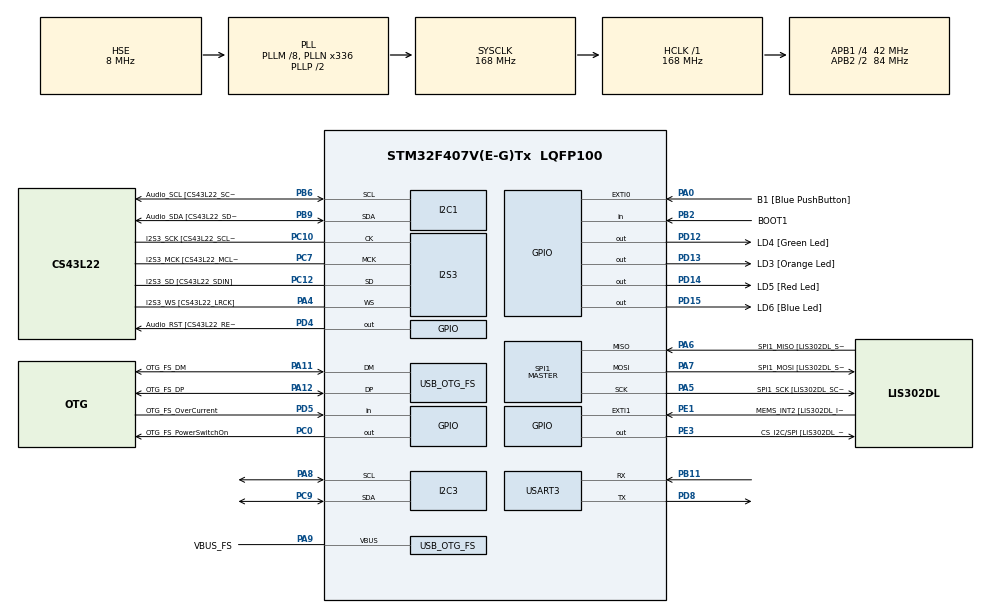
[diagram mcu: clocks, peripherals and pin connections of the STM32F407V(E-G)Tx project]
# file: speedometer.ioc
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I2S3.AudioFreq-Half_Duplex_Master=I2S_AUDIOFREQ_96K
I2S3.ErrorAudioFreq=-2.34 %
I2S3.ErrorAudioFreq-Half_Duplex_Master=0.8 %
I2S3.FullDuplexMode=I2S_FULLDUPLEXMODE_DISABLE
I2S3.Instance=SPI$Index
I2S3.RealAudioFreq=93.75 KHz
I2S3.RealAudioFreq-Half_Duplex_Master=96.774 KHz
I2S3.VirtualMode=I2S_MODE_MASTER
Mcu.Family=STM32F4
Mcu.Name=STM32F407V(E-G)Tx
Mcu.Package=LQFP100
NVIC.OTG_FS_IRQn=true\:0\:0\:false\:false\:true\:true\:true\:true
NVIC.PriorityGroup=NVIC_PRIORITYGROUP_0
NVIC.USART3_IRQn=true\:0\:0\:false\:false\:true\:true\:true\:true
PA0-WKUP.GPIO_Label=B1 [Blue PushButton]
PA0-WKUP.GPIO_ModeDefaultEXTI=GPIO_MODE_IT_RISING
PA0-WKUP.GPIO_PuPd=GPIO_NOPULL
PA0-WKUP.Signal=GPXTI0
PA10.GPIO_Label=OTG_FS_ID
PA10.GPIO_Mode=GPIO_MODE_AF_PP
PA10.GPIO_PuPd=GPIO_NOPULL
PA10.GPIO_Speed=GPIO_SPEED_FREQ_LOW
PA10.Signal=USB_OTG_FS_ID
PA11.GPIO_Label=OTG_FS_DM
PA11.GPIO_Mode=GPIO_MODE_AF_PP
PA11.GPIO_PuPd=GPIO_NOPULL
PA11.GPIO_Speed=GPIO_SPEED_FREQ_LOW
PA11.Mode=Host_Only
PA11.Signal=USB_OTG_FS_DM
PA12.GPIO_Label=OTG_FS_DP
PA12.GPIO_Mode=GPIO_MODE_AF_PP
PA12.GPIO_PuPd=GPIO_NOPULL
PA12.GPIO_Speed=GPIO_SPEED_FREQ_LOW
PA12.Mode=Host_Only
PA12.Signal=USB_OTG_FS_DP
PA13.GPIO_Label=SWDIO
PA13.Mode=Serial_Wire
PA13.Signal=SYS_JTMS-SWDIO
PA14.GPIO_Label=SWCLK
PA14.Mode=Serial_Wire
PA14.Signal=SYS_JTCK-SWCLK
PA4.GPIO_Label=I2S3_WS [CS43L22_LRCK]
PA4.GPIO_Mode=GPIO_MODE_AF_PP
PA4.GPIO_PuPd=GPIO_NOPULL
PA4.GPIO_Speed=GPIO_SPEED_FREQ_LOW
PA4.Mode=Half_Duplex_Master
PA4.Signal=I2S3_WS
PA5.GPIO_Label=SPI1_SCK [LIS302DL_SCL/SPC]
PA5.GPIO_Mode=GPIO_MODE_AF_PP
PA5.GPIO_PuPd=GPIO_NOPULL
PA5.GPIO_Speed=GPIO_SPEED_FREQ_LOW
PA5.Mode=Full_Duplex_Master
PA5.Signal=SPI1_SCK
PA6.GPIO_Label=SPI1_MISO [LIS302DL_SDO]
PA6.GPIO_Mode=GPIO_MODE_AF_PP
PA6.GPIO_PuPd=GPIO_NOPULL
PA6.GPIO_Speed=GPIO_SPEED_FREQ_LOW
PA6.Mode=Full_Duplex_Master
PA6.Signal=SPI1_MISO
PA7.GPIO_Label=SPI1_MOSI [LIS302DL_SDA/SDI/SDO]
PA7.GPIO_Mode=GPIO_MODE_AF_PP
PA7.GPIO_PuPd=GPIO_NOPULL
PA7.GPIO_Speed=GPIO_SPEED_FREQ_LOW
PA7.Mode=Full_Duplex_Master
PA7.Signal=SPI1_MOSI
PA8.Mode=I2C
PA8.Signal=I2C3_SCL
PA9.GPIO_Label=VBUS_FS
PA9.GPIO_Mode=GPIO_MODE_INPUT
PA9.GPIO_PuPd=GPIO_NOPULL
PA9.Mode=Activate_VBUS
PA9.Signal=USB_OTG_FS_VBUS
PB10.GPIO_Label=CLK_IN [MP45DT02_CLK]
PB10.GPIO_Mode=GPIO_MODE_AF_PP
PB10.GPIO_PuPd=GPIO_NOPULL
PB10.GPIO_Speed=GPIO_SPEED_FREQ_LOW
PB10.Signal=I2S2_CK
PB11.Mode=Asynchronous
PB11.Signal=USART3_RX
PB2.GPIO_Label=BOOT1
PB2.GPIO_Mode=GPIO_MODE_INPUT
PB2.GPIO_PuPd=GPIO_NOPULL
PB2.Signal=GPIO_Input
PB3.GPIO_Label=SWO
PB3.Signal=SYS_JTDO-SWO
PB6.GPIO_Label=Audio_SCL [CS43L22_SCL]
PB6.GPIO_Mode=GPIO_MODE_AF_OD
PB6.GPIO_Pu=GPIO_PULLUP
PB6.GPIO_PuPd=GPIO_NOPULL
PB6.GPIO_Speed=GPIO_SPEED_FREQ_LOW
PB6.Mode=I2C
PB6.Signal=I2C1_SCL
PB9.GPIO_Label=Audio_SDA [CS43L22_SDA]
PB9.GPIO_Mode=GPIO_MODE_AF_OD
PB9.GPIO_Pu=GPIO_PULLUP
PB9.GPIO_PuPd=GPIO_NOPULL
PB9.GPIO_Speed=GPIO_SPEED_FREQ_LOW
PB9.Mode=I2C
PB9.Signal=I2C1_SDA
PC0.GPIO_Label=OTG_FS_PowerSwitchOn
PC0.GPIO_PuPd=GPIO_NOPULL
PC0.GPIO_Speed=GPIO_SPEED_FREQ_LOW
PC0.PinState=GPIO_PIN_SET
PC0.Signal=GPIO_Output
PC10.GPIO_Label=I2S3_SCK [CS43L22_SCLK]
PC10.GPIO_Mode=GPIO_MODE_AF_PP
PC10.GPIO_PuPd=GPIO_NOPULL
PC10.GPIO_Speed=GPIO_SPEED_FREQ_LOW
PC10.Mode=Half_Duplex_Master
PC10.Signal=I2S3_CK
PC12.GPIO_Label=I2S3_SD [CS43L22_SDIN]
PC12.GPIO_Mode=GPIO_MODE_AF_PP
PC12.GPIO_PuPd=GPIO_NOPULL
PC12.GPIO_Speed=GPIO_SPEED_FREQ_LOW
PC12.Mode=Half_Duplex_Master
PC12.Signal=I2S3_SD
PC14-OSC32_IN.GPIO_Label=PC14-OSC32_IN
PC14-OSC32_IN.Mode=LSE-External-Oscillator
PC14-OSC32_IN.Signal=RCC_OSC32_IN
PC15-OSC32_OUT.GPIO_Label=PC15-OSC32_OUT
PC15-OSC32_OUT.Mode=LSE-External-Oscillator
PC15-OSC32_OUT.Signal=RCC_OSC32_OUT
PC3.GPIO_Label=PDM_OUT [MP45DT02_DOUT]
PC3.GPIO_Mode=GPIO_MODE_AF_PP
PC3.GPIO_PuPd=GPIO_NOPULL
PC3.GPIO_Speed=GPIO_SPEED_FREQ_LOW
PC3.Signal=I2S2_SD
PC7.GPIO_Label=I2S3_MCK [CS43L22_MCLK]
PC7.GPIO_Mode=GPIO_MODE_AF_PP
PC7.GPIO_PuPd=GPIO_NOPULL
PC7.GPIO_Speed=GPIO_SPEED_FREQ_LOW
PC7.Mode=Master_Clock_Activated
PC7.Signal=I2S3_MCK
PC9.Mode=I2C
PC9.Signal=I2C3_SDA
PD12.GPIO_Label=LD4 [Green Led]
PD12.GPIO_PuPd=GPIO_NOPULL
PD12.GPIO_Speed=GPIO_SPEED_FREQ_LOW
PD12.Signal=GPIO_Output
PD13.GPIO_Label=LD3 [Orange Led]
PD13.GPIO_PuPd=GPIO_NOPULL
PD13.GPIO_Speed=GPIO_SPEED_FREQ_LOW
PD13.Signal=GPIO_Output
PD14.GPIO_Label=LD5 [Red Led]
PD14.GPIO_PuPd=GPIO_NOPULL
PD14.GPIO_Speed=GPIO_SPEED_FREQ_LOW
PD14.Signal=GPIO_Output
PD15.GPIO_Label=LD6 [Blue Led]
PD15.GPIO_PuPd=GPIO_NOPULL
PD15.GPIO_Speed=GPIO_SPEED_FREQ_LOW
PD15.Signal=GPIO_Output
PD4.GPIO_Label=Audio_RST [CS43L22_RESET]
PD4.GPIO_PuPd=GPIO_NOPULL
PD4.GPIO_Speed=GPIO_SPEED_FREQ_LOW
PD4.Signal=GPIO_Output
PD5.GPIO_Label=OTG_FS_OverCurrent
PD5.GPIO_Mode=GPIO_MODE_INPUT
PD5.GPIO_PuPd=GPIO_NOPULL
PD5.Signal=GPIO_Input
PD8.Mode=Asynchronous
PD8.Signal=USART3_TX
PE1.GPIO_Label=MEMS_INT2 [LIS302DL_INT2]
PE1.GPIO_ModeDefaultEXTI=GPIO_MODE_EVT_RISING
PE1.GPIO_PuPd=GPIO_NOPULL
PE1.Signal=GPXTI1
PE3.GPIO_Label=CS_I2C/SPI [LIS302DL_CS_I2C/SPI]
PE3.GPIO_PuPd=GPIO_NOPULL
PE3.GPIO_Speed=GPIO_SPEED_FREQ_LOW
PE3.Signal=GPIO_Output
PH0-OSC_IN.GPIO_Label=PH0-OSC_IN
PH0-OSC_IN.Mode=HSE-External-Oscillator
PH0-OSC_IN.Signal=RCC_OSC_IN
PH1-OSC_OUT.GPIO_Label=PH1-OSC_OUT
PH1-OSC_OUT.Mode=HSE-External-Oscillator
PH1-OSC_OUT.Signal=RCC_OSC_OUT
ProjectManager.HeapSize=0x200
ProjectManager.StackSize=0x400
ProjectManager.TargetToolchain=STM32CubeIDE
RCC.48MHZClocksFreq_Value=48000000
RCC.AHBFreq_Value=168000000
RCC.APB1CLKDivider=RCC_HCLK_DIV4
RCC.APB1Freq_Value=42000000
RCC.APB1TimFreq_Value=84000000
RCC.APB2CLKDivider=RCC_HCLK_DIV2
RCC.APB2Freq_Value=84000000
RCC.APB2TimFreq_Value=168000000
RCC.CortexFreq_Value=168000000
RCC.HCLKFreq_Value=168000000
RCC.HSE_VALUE=8000000
RCC.HSI_VALUE=16000000
RCC.PLLM=8
RCC.PLLN=336
RCC.PLLQ=7
RCC.SYSCLKFreq_VALUE=168000000
RCC.SYSCLKSource=RCC_SYSCLKSOURCE_PLLCLK
RCC.VCOOutputFreq_Value=336000000
SPI1.BaudRatePrescaler-Full_Duplex_Master=SPI_BAUDRATEPRESCALER_2
SPI1.CalculateBaudRate-Full_Duplex_Master=42.0 MBits/s
SPI1.Direction=SPI_DIRECTION_2LINES
SPI1.Mode=SPI_MODE_MASTER
SPI1.Mode-Full_Duplex_Master=SPI_MODE_MASTER
SPI1.VirtualType=VM_MASTER
USART3.VirtualMode=VM_ASYNC
USB_HOST.BSP.number=1
USB_HOST.USBH_HandleTypeDef-CDC_FS=hUsbHostFS
USB_HOST.VirtualModeFS=Cdc
USB_HOST0.BSP.STBoard=false
USB_HOST0.BSP.api=Unknown
USB_HOST0.BSP.instance=PC0
USB_HOST0.BSP.ip=GPIO
USB_HOST0.BSP.mode=Output
USB_HOST0.BSP.name=Drive_VBUS_FS
USB_HOST0.BSP.solution=PC0
USB_OTG_FS.VirtualMode=Host_Only
USB_OTG_FS.phy_itface=HCD_PHY_EMBEDDED
VP_USB_HOST_VS_USB_HOST_CDC_FS.Mode=CDC_FS
board=STM32F407G-DISC1

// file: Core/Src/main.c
/* USER CODE BEGIN Header */
/**
  ******************************************************************************
  * @file           : main.c
  * @brief          : Main program body
  ******************************************************************************
  * @attention
  *
  * Copyright (c) 2026 STMicroelectronics.
  * All rights reserved.
  *
  * This software is licensed under terms that can be found in the LICENSE file
  * in the root directory of this software component.
  * If no LICENSE file comes with this software, it is provided AS-IS.
  *
  ******************************************************************************
  */
/* USER CODE END Header */
#include "main.h"
#include "usb_host.h"

/* USER CODE BEGIN Includes */
#include <string.h>
#include <stdio.h>
/* USER CODE END Includes */

I2C_HandleTypeDef hi2c1;
I2C_HandleTypeDef hi2c3;

I2S_HandleTypeDef hi2s3;

SPI_HandleTypeDef hspi1;

UART_HandleTypeDef huart3;

void SystemClock_Config(void);
static void MX_GPIO_Init(void);
static void MX_I2C1_Init(void);
static void MX_I2S3_Init(void);
static void MX_SPI1_Init(void);
static void MX_I2C3_Init(void);
static void MX_USART3_UART_Init(void);
void MX_USB_HOST_Process(void);

/* USER CODE BEGIN PFP */
/* USER CODE BEGIN PV */
#define LCD_ADDR (0x27 << 1)
#define LCD_BACKLIGHT 0x08
#define LCD_ENABLE    0x04
#define LCD_RS        0x01
#define STX 0x02
#define ETX 0x03
#define PAYLOAD_SIZE 80  // 4 lines x 20 chars
#define PACKET_SIZE  (PAYLOAD_SIZE + 2) // 82 bytes total

// Buffer for receiving data (STX + Data + ETX)
uint8_t rx_buffer[PACKET_SIZE];
// Temporary byte for interrupt reception
uint8_t rx_byte_tmp;
// Counter for current packet index
uint16_t rx_idx = 0;

volatile uint8_t packet_received = 0; // Flag
char display_line_buf[21];            // Temp buffer for one line + null terminator

uint8_t orangeLedState = 0;
/* USER CODE END PV */

/* USER CODE END PFP */

/* USER CODE BEGIN 0 */

/* USER CODE BEGIN 0 */

void HAL_UART_RxCpltCallback(UART_HandleTypeDef *huart)
{
    if (huart->Instance == USART3)
    {

        // --- PROTOCOL STATE MACHINE ---

        // 1. Waiting for Start of Packet
        if (rx_idx == 0)
        {
            if (rx_byte_tmp == STX)
            {
                rx_buffer[rx_idx++] = rx_byte_tmp;
            }
        }
        // 2. Receiving Payload
        else if (rx_idx < (PACKET_SIZE - 1))
        {
            rx_buffer[rx_idx++] = rx_byte_tmp;
        }
        // 3. Waiting for End of Packet
        else if (rx_idx == (PACKET_SIZE - 1))
        {
            if (rx_byte_tmp == ETX)
            {
                rx_buffer[rx_idx] = rx_byte_tmp;
                packet_received = 1; // Complete valid packet received!
            }

            // Whether valid or not, reset index to look for next STX
            rx_idx = 0;
        }

        // Re-arm interrupt for next byte
        HAL_UART_Receive_IT(&huart3, &rx_byte_tmp, 1);
    }
}

// --- LCD FUNCTIONS (Kept mostly same, added robust updates) ---

void lcd_send_nibble(uint8_t nibble)
{
    HAL_I2C_Master_Transmit(&hi2c3, LCD_ADDR, &nibble, 1, 10);
}

void lcd_send_byte(uint8_t data, uint8_t rs)
{
    uint8_t high = (data & 0xF0) | LCD_BACKLIGHT | rs;
    uint8_t low  = ((data << 4) & 0xF0) | LCD_BACKLIGHT | rs;

    lcd_send_nibble(high | LCD_ENABLE);
    lcd_send_nibble(high);

    lcd_send_nibble(low | LCD_ENABLE);
    lcd_send_nibble(low);

    HAL_Delay(1); // Small delay for LCD processing
}

void lcd_cmd(uint8_t cmd)
{
    lcd_send_byte(cmd, 0);
}

void lcd_data(uint8_t data)
{
    lcd_send_byte(data, LCD_RS);
}

void lcd_init(void)
{
    HAL_Delay(50);
    lcd_cmd(0x33);
    lcd_cmd(0x32);
    lcd_cmd(0x28); // 4-bit mode, 2 lines (physically 4 lines usually treated as 2 banks)
    lcd_cmd(0x0C); // Display ON, Cursor OFF
    lcd_cmd(0x06); // Increment cursor
    lcd_cmd(0x01); // Clear display
    HAL_Delay(5);
}

void lcd_print(char *str)
{
    while (*str)
    {
        lcd_data(*str++);
    }
}

void lcd_set_cursor(uint8_t row, uint8_t col)
{
    // Standard 20x4 addresses
    // Row 0: 0x00
    // Row 1: 0x40
    // Row 2: 0x14
    // Row 3: 0x54
    uint8_t address[] = {0x00, 0x40, 0x14, 0x54};
    if(row > 3) row = 3;
    lcd_cmd(0x80 | (address[row] + col));
}

// Helper to update a specific line
void lcd_update_line(uint8_t row, const char *raw_data_start)
{
    lcd_set_cursor(row, 0);
    // Copy exactly 20 chars to a temp buffer to ensure null termination
    memcpy(display_line_buf, raw_data_start, 20);
    display_line_buf[20] = '\0';
    lcd_print(display_line_buf);
}

void uart_println(char *msg)
{
    HAL_UART_Transmit(&huart3, (uint8_t*)msg, strlen(msg), 100);
    HAL_UART_Transmit(&huart3, (uint8_t*)"\r\n", 2, 100);
}

/* USER CODE END 0 */

int main(void)
{

  /* MCU Configuration--------------------------------------------------------*/

  /* Reset of all peripherals, Initializes the Flash interface and the Systick. */
  HAL_Init();

  /* Configure the system clock */
  SystemClock_Config();

  /* Initialize all configured peripherals */
  MX_GPIO_Init();
  MX_I2C1_Init();
  MX_I2S3_Init();
  MX_SPI1_Init();
  MX_USB_HOST_Init();
  MX_I2C3_Init();
  MX_USART3_UART_Init();
  /* USER CODE BEGIN 2 */
  lcd_init();

  HAL_UART_Receive_IT(&huart3, &rx_byte_tmp, 1);

   uart_println("ETS2 Telemetry Ready...");

   // Initial LCD Clear
   lcd_cmd(0x01);
   HAL_Delay(2);
  /* USER CODE END 2 */

  /* Infinite loop */
  while (1)
  {
    MX_USB_HOST_Process();
    if (packet_received)
       {
           // Toggle Orange LED to indicate successful packet parse
           orangeLedState ^= 1;
           HAL_GPIO_WritePin(GPIOD, GPIO_PIN_13, orangeLedState);

           // rx_buffer layout:
           // Index 0: STX
           // Index 1-20:  Line 1
           // Index 21-40: Line 2
           // Index 41-60: Line 3
           // Index 61-80: Line 4
           // Index 81: ETX

           lcd_update_line(0, (char*)&rx_buffer[1]);  // Line 1
           lcd_update_line(1, (char*)&rx_buffer[21]); // Line 2
           lcd_update_line(2, (char*)&rx_buffer[41]); // Line 3
           lcd_update_line(3, (char*)&rx_buffer[61]); // Line 4

           // Clear flag so we wait for the next packet
           packet_received = 0;
       }
  }
}

void SystemClock_Config(void)
{
  RCC_OscInitTypeDef RCC_OscInitStruct = {0};
  RCC_ClkInitTypeDef RCC_ClkInitStruct = {0};

  /** Configure the main internal regulator output voltage
  */
  __HAL_RCC_PWR_CLK_ENABLE();
  __HAL_PWR_VOLTAGESCALING_CONFIG(PWR_REGULATOR_VOLTAGE_SCALE1);

  /** Initializes the RCC Oscillators according to the specified parameters
  * in the RCC_OscInitTypeDef structure.
  */
  RCC_OscInitStruct.OscillatorType = RCC_OSCILLATORTYPE_HSE;
  RCC_OscInitStruct.HSEState = RCC_HSE_ON;
  RCC_OscInitStruct.PLL.PLLState = RCC_PLL_ON;
  RCC_OscInitStruct.PLL.PLLSource = RCC_PLLSOURCE_HSE;
  RCC_OscInitStruct.PLL.PLLM = 8;
  RCC_OscInitStruct.PLL.PLLN = 336;
  RCC_OscInitStruct.PLL.PLLP = RCC_PLLP_DIV2;
  RCC_OscInitStruct.PLL.PLLQ = 7;
  if (HAL_RCC_OscConfig(&RCC_OscInitStruct) != HAL_OK)
  {
    Error_Handler();
  }

  /** Initializes the CPU, AHB and APB buses clocks
  */
  RCC_ClkInitStruct.ClockType = RCC_CLOCKTYPE_HCLK|RCC_CLOCKTYPE_SYSCLK
                              |RCC_CLOCKTYPE_PCLK1|RCC_CLOCKTYPE_PCLK2;
  RCC_ClkInitStruct.SYSCLKSource = RCC_SYSCLKSOURCE_PLLCLK;
  RCC_ClkInitStruct.AHBCLKDivider = RCC_SYSCLK_DIV1;
  RCC_ClkInitStruct.APB1CLKDivider = RCC_HCLK_DIV4;
  RCC_ClkInitStruct.APB2CLKDivider = RCC_HCLK_DIV2;

  if (HAL_RCC_ClockConfig(&RCC_ClkInitStruct, FLASH_LATENCY_5) != HAL_OK)
  {
    Error_Handler();
  }
}

static void MX_I2C1_Init(void)
{

  hi2c1.Instance = I2C1;
  hi2c1.Init.ClockSpeed = 100000;
  hi2c1.Init.DutyCycle = I2C_DUTYCYCLE_2;
  hi2c1.Init.OwnAddress1 = 0;
  hi2c1.Init.AddressingMode = I2C_ADDRESSINGMODE_7BIT;
  hi2c1.Init.DualAddressMode = I2C_DUALADDRESS_DISABLE;
  hi2c1.Init.OwnAddress2 = 0;
  hi2c1.Init.GeneralCallMode = I2C_GENERALCALL_DISABLE;
  hi2c1.Init.NoStretchMode = I2C_NOSTRETCH_DISABLE;
  if (HAL_I2C_Init(&hi2c1) != HAL_OK)
  {
    Error_Handler();
  }

}

static void MX_I2C3_Init(void)
{

  hi2c3.Instance = I2C3;
  hi2c3.Init.ClockSpeed = 100000;
  hi2c3.Init.DutyCycle = I2C_DUTYCYCLE_2;
  hi2c3.Init.OwnAddress1 = 0;
  hi2c3.Init.AddressingMode = I2C_ADDRESSINGMODE_7BIT;
  hi2c3.Init.DualAddressMode = I2C_DUALADDRESS_DISABLE;
  hi2c3.Init.OwnAddress2 = 0;
  hi2c3.Init.GeneralCallMode = I2C_GENERALCALL_DISABLE;
  hi2c3.Init.NoStretchMode = I2C_NOSTRETCH_DISABLE;
  if (HAL_I2C_Init(&hi2c3) != HAL_OK)
  {
    Error_Handler();
  }

}

static void MX_I2S3_Init(void)
{

  hi2s3.Instance = SPI3;
  hi2s3.Init.Mode = I2S_MODE_MASTER_TX;
  hi2s3.Init.Standard = I2S_STANDARD_PHILIPS;
  hi2s3.Init.DataFormat = I2S_DATAFORMAT_16B;
  hi2s3.Init.MCLKOutput = I2S_MCLKOUTPUT_ENABLE;
  hi2s3.Init.AudioFreq = I2S_AUDIOFREQ_96K;
  hi2s3.Init.CPOL = I2S_CPOL_LOW;
  hi2s3.Init.ClockSource = I2S_CLOCK_PLL;
  hi2s3.Init.FullDuplexMode = I2S_FULLDUPLEXMODE_DISABLE;
  if (HAL_I2S_Init(&hi2s3) != HAL_OK)
  {
    Error_Handler();
  }

}

static void MX_SPI1_Init(void)
{

  /* SPI1 parameter configuration*/
  hspi1.Instance = SPI1;
  hspi1.Init.Mode = SPI_MODE_MASTER;
  hspi1.Init.Direction = SPI_DIRECTION_2LINES;
  hspi1.Init.DataSize = SPI_DATASIZE_8BIT;
  hspi1.Init.CLKPolarity = SPI_POLARITY_LOW;
  hspi1.Init.CLKPhase = SPI_PHASE_1EDGE;
  hspi1.Init.NSS = SPI_NSS_SOFT;
  hspi1.Init.BaudRatePrescaler = SPI_BAUDRATEPRESCALER_2;
  hspi1.Init.FirstBit = SPI_FIRSTBIT_MSB;
  hspi1.Init.TIMode = SPI_TIMODE_DISABLE;
  hspi1.Init.CRCCalculation = SPI_CRCCALCULATION_DISABLE;
  hspi1.Init.CRCPolynomial = 10;
  if (HAL_SPI_Init(&hspi1) != HAL_OK)
  {
    Error_Handler();
  }

}

static void MX_USART3_UART_Init(void)
{

  huart3.Instance = USART3;
  huart3.Init.BaudRate = 115200;
  huart3.Init.WordLength = UART_WORDLENGTH_8B;
  huart3.Init.StopBits = UART_STOPBITS_1;
  huart3.Init.Parity = UART_PARITY_NONE;
  huart3.Init.Mode = UART_MODE_TX_RX;
  huart3.Init.HwFlowCtl = UART_HWCONTROL_NONE;
  huart3.Init.OverSampling = UART_OVERSAMPLING_16;
  if (HAL_UART_Init(&huart3) != HAL_OK)
  {
    Error_Handler();
  }

}

static void MX_GPIO_Init(void)
{
  GPIO_InitTypeDef GPIO_InitStruct = {0};

  /* GPIO Ports Clock Enable */
  __HAL_RCC_GPIOE_CLK_ENABLE();
  __HAL_RCC_GPIOC_CLK_ENABLE();
  __HAL_RCC_GPIOH_CLK_ENABLE();
  __HAL_RCC_GPIOA_CLK_ENABLE();
  __HAL_RCC_GPIOB_CLK_ENABLE();
  __HAL_RCC_GPIOD_CLK_ENABLE();

  /*Configure GPIO pin Output Level */
  HAL_GPIO_WritePin(CS_I2C_SPI_GPIO_Port, CS_I2C_SPI_Pin, GPIO_PIN_RESET);

  /*Configure GPIO pin Output Level */
  HAL_GPIO_WritePin(OTG_FS_PowerSwitchOn_GPIO_Port, OTG_FS_PowerSwitchOn_Pin, GPIO_PIN_SET);

  /*Configure GPIO pin Output Level */
  HAL_GPIO_WritePin(GPIOD, LD4_Pin|LD3_Pin|LD5_Pin|LD6_Pin
                          |Audio_RST_Pin, GPIO_PIN_RESET);

  /*Configure GPIO pin : CS_I2C_SPI_Pin */
  GPIO_InitStruct.Pin = CS_I2C_SPI_Pin;
  GPIO_InitStruct.Mode = GPIO_MODE_OUTPUT_PP;
  GPIO_InitStruct.Pull = GPIO_NOPULL;
  GPIO_InitStruct.Speed = GPIO_SPEED_FREQ_LOW;
  HAL_GPIO_Init(CS_I2C_SPI_GPIO_Port, &GPIO_InitStruct);

  /*Configure GPIO pin : OTG_FS_PowerSwitchOn_Pin */
  GPIO_InitStruct.Pin = OTG_FS_PowerSwitchOn_Pin;
  GPIO_InitStruct.Mode = GPIO_MODE_OUTPUT_PP;
  GPIO_InitStruct.Pull = GPIO_NOPULL;
  GPIO_InitStruct.Speed = GPIO_SPEED_FREQ_LOW;
  HAL_GPIO_Init(OTG_FS_PowerSwitchOn_GPIO_Port, &GPIO_InitStruct);

  /*Configure GPIO pin : PDM_OUT_Pin */
  GPIO_InitStruct.Pin = PDM_OUT_Pin;
  GPIO_InitStruct.Mode = GPIO_MODE_AF_PP;
  GPIO_InitStruct.Pull = GPIO_NOPULL;
  GPIO_InitStruct.Speed = GPIO_SPEED_FREQ_LOW;
  GPIO_InitStruct.Alternate = GPIO_AF5_SPI2;
  HAL_GPIO_Init(PDM_OUT_GPIO_Port, &GPIO_InitStruct);

  /*Configure GPIO pin : B1_Pin */
  GPIO_InitStruct.Pin = B1_Pin;
  GPIO_InitStruct.Mode = GPIO_MODE_IT_RISING;
  GPIO_InitStruct.Pull = GPIO_NOPULL;
  HAL_GPIO_Init(B1_GPIO_Port, &GPIO_InitStruct);

  /*Configure GPIO pin : BOOT1_Pin */
  GPIO_InitStruct.Pin = BOOT1_Pin;
  GPIO_InitStruct.Mode = GPIO_MODE_INPUT;
  GPIO_InitStruct.Pull = GPIO_NOPULL;
  HAL_GPIO_Init(BOOT1_GPIO_Port, &GPIO_InitStruct);

  /*Configure GPIO pin : CLK_IN_Pin */
  GPIO_InitStruct.Pin = CLK_IN_Pin;
  GPIO_InitStruct.Mode = GPIO_MODE_AF_PP;
  GPIO_InitStruct.Pull = GPIO_NOPULL;
  GPIO_InitStruct.Speed = GPIO_SPEED_FREQ_LOW;
  GPIO_InitStruct.Alternate = GPIO_AF5_SPI2;
  HAL_GPIO_Init(CLK_IN_GPIO_Port, &GPIO_InitStruct);

  /*Configure GPIO pins : LD4_Pin LD3_Pin LD5_Pin LD6_Pin
                           Audio_RST_Pin */
  GPIO_InitStruct.Pin = LD4_Pin|LD3_Pin|LD5_Pin|LD6_Pin
                          |Audio_RST_Pin;
  GPIO_InitStruct.Mode = GPIO_MODE_OUTPUT_PP;
  GPIO_InitStruct.Pull = GPIO_NOPULL;
  GPIO_InitStruct.Speed = GPIO_SPEED_FREQ_LOW;
  HAL_GPIO_Init(GPIOD, &GPIO_InitStruct);

  /*Configure GPIO pin : OTG_FS_OverCurrent_Pin */
  GPIO_InitStruct.Pin = OTG_FS_OverCurrent_Pin;
  GPIO_InitStruct.Mode = GPIO_MODE_INPUT;
  GPIO_InitStruct.Pull = GPIO_NOPULL;
  HAL_GPIO_Init(OTG_FS_OverCurrent_GPIO_Port, &GPIO_InitStruct);

  /*Configure GPIO pin : MEMS_INT2_Pin */
  GPIO_InitStruct.Pin = MEMS_INT2_Pin;
  GPIO_InitStruct.Mode = GPIO_MODE_EVT_RISING;
  GPIO_InitStruct.Pull = GPIO_NOPULL;
  HAL_GPIO_Init(MEMS_INT2_GPIO_Port, &GPIO_InitStruct);

}

void Error_Handler(void)
{
  __disable_irq();
  while (1)
  {
  }
}
